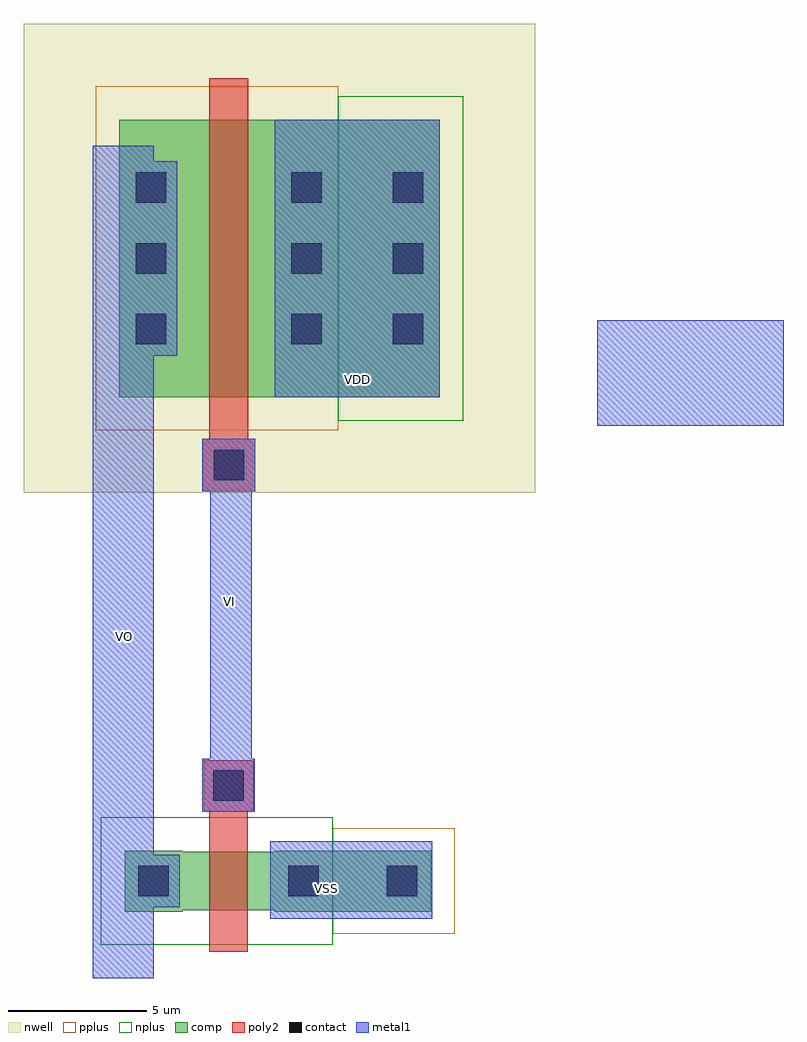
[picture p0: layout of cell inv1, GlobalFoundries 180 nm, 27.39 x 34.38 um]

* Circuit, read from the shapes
.subckt inv1 VDD VI VO VSS
XM1 VSS VI VO VSS nfet_03v3 w=2.1u l=1.4u
XM2 VDD VI VO VDD pfet_03v3 w=10u l=1.4u
.ends

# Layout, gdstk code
import gdstk
lib = gdstk.Library(unit=1e-6, precision=5e-09)
def R(c, l, rs):  # rectangles x0, y0, x1, y1
    for r in rs: c.add(gdstk.rectangle(r[:2], r[2:], *l))
def A(c, l, x, y, w, h, nx, ny, dx, dy):  # array of equal rectangles
    R(c, l, [(x+i*dx, y+j*dy, x+i*dx+w, y+j*dy+h) for i in range(nx) for j in range(ny)])
nwell = (21, 0)
comp = (22, 0)
poly2 = (30, 0)
pplus = (31, 0)
nplus = (32, 0)
contact = (33, 0)
metal1 = (34, 0)

nfet = lib.new_cell('nfet')
R(nfet, comp, [(-0.42,-0.01,0,0.43), (0.66,-0.01,1.08,0.43), (1.08,-0.01,1.79,0.43), (0,0,0.66,0.42)])
R(nfet, poly2, [(0.19,-0.3,0.47,0.72), (0.15,0.72,0.51,1.08)])
R(nfet, pplus, [(1.08,-0.17,1.96,0.59)])
R(nfet, nplus, [(-0.59,-0.25,1.08,0.67)])
R(nfet, contact, [(-0.32,0.1,-0.1,0.32), (0.76,0.1,0.98,0.32), (1.47,0.1,1.69,0.32), (0.22,0.79,0.44,1.01)])
R(nfet, metal1, [(-0.4,0.02,-0.02,0.4), (0.68,0.02,1.06,0.4), (1.39,0.02,1.77,0.4), (0.14,0.71,0.52,1.09)])

pfet = lib.new_cell('pfet')
R(pfet, nwell, [(-1.15,-0.69,2.54,2.69)])
R(pfet, comp, [(-0.46,0,0,2), (0,0,0.66,2), (0.66,0,1.12,2), (1.12,0,1.85,2)])
R(pfet, poly2, [(0.14,-0.68,0.52,-0.3), (0.19,-0.3,0.47,2.3)])
R(pfet, pplus, [(-0.63,-0.24,1.12,2.24)])
R(pfet, nplus, [(1.12,-0.17,2.02,2.17)])
A(pfet, contact, -0.34, 0.38, 0.22, 0.22, 1, 3, 0, 0.51)
A(pfet, contact, 0.78, 0.38, 0.22, 0.22, 1, 3, 0, 0.51)
A(pfet, contact, 1.51, 0.38, 0.22, 0.22, 1, 3, 0, 0.51)
R(pfet, contact, [(0.22,-0.6,0.44,-0.38)])
R(pfet, metal1, [(0.14,-0.68,0.52,-0.3), (-0.42,0.3,-0.04,1.7), (0.7,0.3,1.08,1.7), (1.43,0.3,1.81,1.7)])

inv1 = lib.new_cell('inv1')
R(inv1, metal1, [(-4.77,-2.175,-2.57,27.825), (1.62,-0.04,7.47,2.76), (13.4,17.73,20.12,21.53), (1.78,18.76,7.73,28.76)])
inv1.add(gdstk.FlexPath([(0.21,16.44),(0.21,4.29)], 1.5, ends="flush", simple_path=True, layer=34, datatype=0))  # metal1
inv1.add(gdstk.Reference(nfet, (-1.53,0.27), magnification=5))
inv1.add(gdstk.Reference(pfet, (-1.52,18.76), magnification=5))
inv1.add(gdstk.Label('VSS', (3.66,1.06), layer=34, texttype=10))
inv1.add(gdstk.Label('VDD', (4.76,19.4), layer=34, texttype=10))
inv1.add(gdstk.Label('VO', (-3.63,10.12), layer=34, texttype=10))
inv1.add(gdstk.Label('VI', (0.17,11.39), layer=34, texttype=10))

lib.write_gds('inv1.gds')
